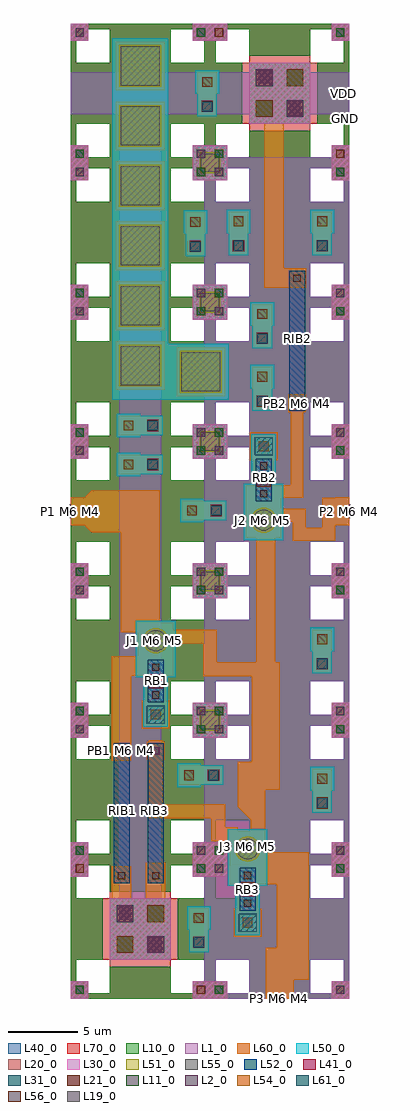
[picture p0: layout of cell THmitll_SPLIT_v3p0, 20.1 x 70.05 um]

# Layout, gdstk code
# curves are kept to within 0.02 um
from math import pi, radians
import gdstk
lib = gdstk.Library(unit=1e-6, precision=1e-09)
def R(c, l, rs):  # rectangles x0, y0, x1, y1
    for r in rs: c.add(gdstk.rectangle(r[:2], r[2:], *l))
def A(c, l, x, y, w, h, nx, ny, dx, dy):  # array of equal rectangles
    R(c, l, [(x+i*dx, y+j*dy, x+i*dx+w, y+j*dy+h) for i in range(nx) for j in range(ny)])
def P(c, l, *ps):  # polygons
    for p in ps: c.add(gdstk.Polygon(p, *l))
L1_0 = (1, 0)
L2_0 = (2, 0)
L10_0 = (10, 0)
L11_0 = (11, 0)
L19_0 = (19, 0)
L20_0 = (20, 0)
L21_0 = (21, 0)
L30_0 = (30, 0)
L31_0 = (31, 0)
L40_0 = (40, 0)
L41_0 = (41, 0)
L50_0 = (50, 0)
L51_0 = (51, 0)
L52_0 = (52, 0)
L54_0 = (54, 0)
L55_0 = (55, 0)
L56_0 = (56, 0)
L60_0 = (60, 0)
L61_0 = (61, 0)
L70_0 = (70, 0)

ls_tr_m7_1 = lib.new_cell('ls_tr_M7$1')
P(ls_tr_m7_1, L70_0, [(0,0),(0,10),(1.25,10),(1.25,8.75),(0.4,8.75),(0.4,1.25),(1.25,1.25),(1.25,0.4),(2.8,0.4),(2.8,2.8),(0.4,2.8),(0.4,7.2),(2.8,7.2),(2.8,9.6),(1.25,9.6),(1.25,10),(7.2,10),(7.2,0.4),(8.75,0.4),(8.75,1.25),(9.6,1.25),(9.6,2.8),(7.2,2.8),(7.2,7.2),(9.6,7.2),(9.6,8.75),(8.75,8.75),(8.75,9.6),(7.2,9.6),(7.2,10),(10,10),(10,0)])

ls_tr_u_m4_nptl = lib.new_cell('ls_tr_u_M4_NPTL')
P(ls_tr_u_m4_nptl, L1_0, [(0,0),(0,10),(1.25,10),(1.25,8.75),(0.4,8.75),(0.4,1.25),(1.25,1.25),(1.25,0.4),(2.8,0.4),(2.8,2.8),(0.4,2.8),(0.4,7.2),(2.8,7.2),(2.8,9.6),(1.25,9.6),(1.25,10),(7.2,10),(7.2,0.4),(8.75,0.4),(8.75,1.25),(9.6,1.25),(9.6,2.8),(7.2,2.8),(7.2,7.2),(9.6,7.2),(9.6,8.75),(8.75,8.75),(8.75,9.6),(7.2,9.6),(7.2,10),(10,10),(10,0)])
R(ls_tr_u_m4_nptl, L2_0, [(9.05,0.35,9.65,0.95), (0.35,9.05,0.95,9.65)])
R(ls_tr_u_m4_nptl, L10_0, [(0,0,1.25,1.25), (8.75,0,10,1.25), (0,8.75,1.25,10), (8.75,8.75,10,10)])
P(ls_tr_u_m4_nptl, L10_0, [(1.25,0),(1.25,0.4),(2.8,0.4),(2.8,2.8),(0.4,2.8),(0.4,1.25),(0,1.25),(0,8.75),(0.4,8.75),(0.4,7.2),(2.8,7.2),(2.8,9.6),(1.25,9.6),(1.25,10),(8.75,10),(8.75,9.6),(7.2,9.6),(7.2,7.2),(9.6,7.2),(9.6,8.75),(10,8.75),(10,1.25),(9.6,1.25),(9.6,2.8),(7.2,2.8),(7.2,0.4),(8.75,0.4),(8.75,0)])
R(ls_tr_u_m4_nptl, L11_0, [(0.35,0.35,0.95,0.95), (9.05,9.05,9.65,9.65)])
R(ls_tr_u_m4_nptl, L20_0, [(0,0,1.25,1.25), (8.75,0,10,1.25), (0,8.75,1.25,10), (8.75,8.75,10,10)])
R(ls_tr_u_m4_nptl, L21_0, [(9.05,0.35,9.65,0.95), (0.35,9.05,0.95,9.65)])
R(ls_tr_u_m4_nptl, L30_0, [(0,0,1.25,1.25), (8.75,0,10,1.25), (0,8.75,1.25,10), (8.75,8.75,10,10)])
R(ls_tr_u_m4_nptl, L31_0, [(0.35,0.35,0.95,0.95), (9.05,9.05,9.65,9.65)])
P(ls_tr_u_m4_nptl, L40_0, [(0,0),(0,10),(1.25,10),(1.25,8.75),(0.4,8.75),(0.4,1.25),(1.25,1.25),(1.25,0.4),(2.8,0.4),(2.8,2.8),(0.4,2.8),(0.4,7.2),(2.8,7.2),(2.8,9.6),(1.25,9.6),(1.25,10),(7.2,10),(7.2,0.4),(8.75,0.4),(8.75,1.25),(9.6,1.25),(9.6,2.8),(7.2,2.8),(7.2,7.2),(9.6,7.2),(9.6,8.75),(8.75,8.75),(8.75,9.6),(7.2,9.6),(7.2,10),(10,10),(10,0)])
ls_tr_u_m4_nptl.add(gdstk.Reference(ls_tr_m7_1, (0,0)))

ls_tr_bias_pillar_m0m6 = lib.new_cell('ls_tr_bias_pillar_M0M6')
R(ls_tr_bias_pillar_m0m6, L1_0, [(0,0,1.25,1.25), (8.75,0,10,1.25), (2.8,2.8,7.2,7.2), (0,8.75,1.25,10), (8.75,8.75,10,10)])
R(ls_tr_bias_pillar_m0m6, L2_0, [(5.5,3.3,6.7,4.5), (3.3,5.5,4.5,6.7)])
R(ls_tr_bias_pillar_m0m6, L10_0, [(0,0,1.25,1.25), (8.75,0,10,1.25), (2.8,2.8,7.2,7.2), (0,8.75,1.25,10), (8.75,8.75,10,10)])
P(ls_tr_bias_pillar_m0m6, L10_0, [(0,0),(0,10),(7.2,10),(7.2,7.7),(2.8,7.7),(2.8,9.6),(1.25,9.6),(1.25,8.75),(0.4,8.75),(0.4,7.2),(2.3,7.2),(2.3,2.8),(0.4,2.8),(0.4,1.25),(1.25,1.25),(1.25,0.4),(2.8,0.4),(2.8,2.3),(7.2,2.3),(7.2,0.4),(8.75,0.4),(8.75,1.25),(9.6,1.25),(9.6,2.8),(7.7,2.8),(7.7,7.2),(9.6,7.2),(9.6,8.75),(8.75,8.75),(8.75,9.6),(7.2,9.6),(7.2,10),(10,10),(10,0)])
R(ls_tr_bias_pillar_m0m6, L11_0, [(0.35,0.35,0.95,0.95), (3.3,3.3,4.5,4.5), (5.5,5.5,6.7,6.7), (9.05,9.05,9.65,9.65)])
R(ls_tr_bias_pillar_m0m6, L20_0, [(0,0,1.25,1.25), (8.75,0,10,1.25), (2.8,2.8,7.2,7.2), (0,8.75,1.25,10), (8.75,8.75,10,10)])
R(ls_tr_bias_pillar_m0m6, L21_0, [(9.05,0.35,9.65,0.95), (5.5,3.3,6.7,4.5), (3.3,5.5,4.5,6.7), (0.35,9.05,0.95,9.65)])
R(ls_tr_bias_pillar_m0m6, L30_0, [(0,0,1.25,1.25), (8.75,0,10,1.25), (2.8,2.8,7.2,7.2), (0,8.75,1.25,10), (8.75,8.75,10,10)])
R(ls_tr_bias_pillar_m0m6, L31_0, [(0.35,0.35,0.95,0.95), (3.3,3.3,4.5,4.5), (5.5,5.5,6.7,6.7), (9.05,9.05,9.65,9.65)])
R(ls_tr_bias_pillar_m0m6, L40_0, [(2.8,2.8,7.2,7.2)])
P(ls_tr_bias_pillar_m0m6, L40_0, [(0,0),(0,10),(7.2,10),(7.2,7.7),(2.8,7.7),(2.8,9.6),(1.25,9.6),(1.25,8.75),(0.4,8.75),(0.4,7.2),(2.3,7.2),(2.3,2.8),(0.4,2.8),(0.4,1.25),(1.25,1.25),(1.25,0.4),(2.8,0.4),(2.8,2.3),(7.2,2.3),(7.2,0.4),(8.75,0.4),(8.75,1.25),(9.6,1.25),(9.6,2.8),(7.7,2.8),(7.7,7.2),(9.6,7.2),(9.6,8.75),(8.75,8.75),(8.75,9.6),(7.2,9.6),(7.2,10),(10,10),(10,0)])
R(ls_tr_bias_pillar_m0m6, L41_0, [(5.5,3.3,6.7,4.5), (3.3,5.5,4.5,6.7)])
R(ls_tr_bias_pillar_m0m6, L50_0, [(2.8,2.8,7.2,7.2)])
R(ls_tr_bias_pillar_m0m6, L54_0, [(3.3,3.3,4.5,4.5), (5.5,5.5,6.7,6.7)])
R(ls_tr_bias_pillar_m0m6, L60_0, [(2.8,2.8,7.2,7.2)])
P(ls_tr_bias_pillar_m0m6, L70_0, [(0,0),(0,10),(1.25,10),(1.25,8.75),(0.4,8.75),(0.4,1.25),(1.25,1.25),(1.25,0.4),(2.8,0.4),(2.8,2.8),(0.4,2.8),(0.4,7.2),(2.8,7.2),(2.8,9.6),(1.25,9.6),(1.25,10),(7.2,10),(7.2,0.4),(8.75,0.4),(8.75,1.25),(9.6,1.25),(9.6,2.8),(7.2,2.8),(7.2,7.2),(9.6,7.2),(9.6,8.75),(8.75,8.75),(8.75,9.6),(7.2,9.6),(7.2,10),(10,10),(10,0)])

ls_tr_m7 = lib.new_cell('ls_tr_M7')
P(ls_tr_m7, L70_0, [(0,0),(0,10),(1.25,10),(1.25,8.75),(0.4,8.75),(0.4,1.25),(1.25,1.25),(1.25,0.4),(2.8,0.4),(2.8,2.8),(0.4,2.8),(0.4,7.2),(2.8,7.2),(2.8,9.6),(1.25,9.6),(1.25,10),(7.2,10),(7.2,0.4),(8.75,0.4),(8.75,1.25),(9.6,1.25),(9.6,2.8),(7.2,2.8),(7.2,7.2),(9.6,7.2),(9.6,8.75),(8.75,8.75),(8.75,9.6),(7.2,9.6),(7.2,10),(10,10),(10,0)])

ls_tr_u_m4_alt = lib.new_cell('ls_tr_u_M4_alt')
R(ls_tr_u_m4_alt, L1_0, [(0,0,1.25,1.25), (8.75,0,10,1.25), (0,8.75,1.25,10), (8.75,8.75,10,10)])
R(ls_tr_u_m4_alt, L2_0, [(9.05,0.35,9.65,0.95), (0.35,9.05,0.95,9.65)])
R(ls_tr_u_m4_alt, L10_0, [(0,0,1.25,1.25), (1.25,0,8.75,0.4), (8.75,0,10,1.25), (2.8,0.4,7.2,9.6), (0,1.25,0.4,8.75), (9.6,1.25,10,8.75), (0.4,2.8,2.8,7.2), (7.2,2.8,9.6,7.2), (0,8.75,1.25,10), (8.75,8.75,10,10), (1.25,9.6,8.75,10)])
R(ls_tr_u_m4_alt, L11_0, [(0.35,0.35,0.95,0.95), (9.05,9.05,9.65,9.65)])
R(ls_tr_u_m4_alt, L20_0, [(0,0,1.25,1.25), (8.75,0,10,1.25), (0,8.75,1.25,10), (8.75,8.75,10,10)])
R(ls_tr_u_m4_alt, L21_0, [(9.05,0.35,9.65,0.95), (0.35,9.05,0.95,9.65)])
R(ls_tr_u_m4_alt, L30_0, [(0,0,1.25,1.25), (8.75,0,10,1.25), (0,8.75,1.25,10), (8.75,8.75,10,10)])
R(ls_tr_u_m4_alt, L31_0, [(0.35,0.35,0.95,0.95), (9.05,9.05,9.65,9.65)])
P(ls_tr_u_m4_alt, L40_0, [(0,0),(0,10),(1.25,10),(1.25,8.75),(0.4,8.75),(0.4,1.25),(1.25,1.25),(1.25,0.4),(2.8,0.4),(2.8,2.8),(0.4,2.8),(0.4,7.2),(2.8,7.2),(2.8,9.6),(1.25,9.6),(1.25,10),(7.2,10),(7.2,0.4),(8.75,0.4),(8.75,1.25),(9.6,1.25),(9.6,2.8),(7.2,2.8),(7.2,7.2),(9.6,7.2),(9.6,8.75),(8.75,8.75),(8.75,9.6),(7.2,9.6),(7.2,10),(10,10),(10,0)])
ls_tr_u_m4_alt.add(gdstk.Reference(ls_tr_m7, (0,0)))

ls_conn_m5m6m7 = lib.new_cell('ls_conn_M5M6M7')
R(ls_conn_m5m6m7, L60_0, [(-0.65,-0.65,1.35,1.35)])
R(ls_conn_m5m6m7, L61_0, [(-0.3,-0.3,1,1)])
R(ls_conn_m5m6m7, L70_0, [(-0.65,-0.65,1.35,1.35)])

th_jj_250_sg = lib.new_cell('th_jj_250_sg')
R(th_jj_250_sg, L41_0, [(-0.5,2.4,0.5,3.4)])
R(th_jj_250_sg, L50_0, [(-1.425,-1.425,1.425,2.625), (-0.875,2.625,0.875,6.175)])
P(th_jj_250_sg, L51_0, [(0,-0.91),(-0.18,-0.895),(-0.35,-0.84),(-0.645,-0.645),(-0.84,-0.35),(-0.91,0),(-0.895,0.18),(-0.84,0.35),(-0.645,0.645),(-0.35,0.84),(-0.18,0.895),(0,0.91),(0.18,0.895),(0.35,0.84),(0.645,0.645),(0.84,0.35),(0.895,0.18),(0.91,0),(0.84,-0.35),(0.645,-0.645),(0.35,-0.84),(0.18,-0.895)])
R(th_jj_250_sg, L52_0, [(-0.575,1.35,0.575,4.425)])
R(th_jj_250_sg, L54_0, [(-0.35,4.95,0.35,5.65)])
P(th_jj_250_sg, L55_0, [(0,-0.76),(-0.15,-0.75),(-0.29,-0.7),(-0.54,-0.54),(-0.7,-0.29),(-0.75,-0.15),(-0.76,0),(-0.75,0.15),(-0.7,0.29),(-0.54,0.54),(-0.29,0.7),(-0.15,0.75),(0,0.76),(0.15,0.75),(0.29,0.7),(0.54,0.54),(0.7,0.29),(0.75,0.15),(0.76,0),(0.75,-0.15),(0.7,-0.29),(0.54,-0.54),(0.29,-0.7),(0.15,-0.75)])
R(th_jj_250_sg, L56_0, [(-0.26,1.64,0.26,2.16), (-0.26,3.63,0.26,4.15)])
R(th_jj_250_sg, L60_0, [(-1.275,-1.275,1.275,2.525), (-0.725,3.25,0.725,6.025)])
th_jj_250_sg.add(gdstk.Reference(ls_conn_m5m6m7, (0.35,5.65), rotation=pi))

th_ib_175 = lib.new_cell('th_ib_175')
R(th_ib_175, L52_0, [(-0.575,0,0.575,10.05)])
R(th_ib_175, L56_0, [(-0.26,0.29,0.26,0.81), (-0.26,9.26,0.26,9.78)])
R(th_ib_175, L60_0, [(-0.625,-0.1,0.625,1.175), (-0.625,8.9,0.625,10.15)])

ls_fakejj_1p5x1p5um = lib.new_cell('ls_FakeJJ_1p5x1p5um')
R(ls_fakejj_1p5x1p5um, L40_0, [(-1.25,-1.25,1.25,1.25)])
R(ls_fakejj_1p5x1p5um, L50_0, [(-1.25,-1.25,1.25,1.25)])
R(ls_fakejj_1p5x1p5um, L51_0, [(-0.75,-0.75,0.75,0.75)])
R(ls_fakejj_1p5x1p5um, L55_0, [(-0.65,-0.65,0.65,0.65)])
R(ls_fakejj_1p5x1p5um, L60_0, [(-1,-1,1,1)])

ls_conn_m4m5m6m7 = lib.new_cell('ls_conn_M4M5M6M7')
R(ls_conn_m4m5m6m7, L40_0, [(0,0,1.4,1.4)])
R(ls_conn_m4m5m6m7, L41_0, [(0.3,0.3,1.1,1.1)])
P(ls_conn_m4m5m6m7, L50_0, [(1.6,-0.15),(1.6,0),(0,0),(0,1.4),(1.6,1.4),(1.6,1.55),(3.3,1.55),(3.3,-0.15)])
R(ls_conn_m4m5m6m7, L54_0, [(2.1,0.35,2.8,1.05)])
R(ls_conn_m4m5m6m7, L60_0, [(0,0,3.15,1.4)])
R(ls_conn_m4m5m6m7, L61_0, [(0.35,0.35,1.05,1.05)])
R(ls_conn_m4m5m6m7, L70_0, [(0,0,1.4,1.4)])

ls_fakejj_3umx3um = lib.new_cell('ls_FakeJJ_3umx3um')
R(ls_fakejj_3umx3um, L40_0, [(-2,-2,2,2)])
R(ls_fakejj_3umx3um, L50_0, [(-2,-2,2,2)])
R(ls_fakejj_3umx3um, L51_0, [(-1.5,-1.5,1.5,1.5)])
R(ls_fakejj_3umx3um, L55_0, [(-1.4,-1.4,1.4,1.4)])
R(ls_fakejj_3umx3um, L60_0, [(-1.75,-1.75,1.75,1.75)])

thmitll_split_v3p0 = lib.new_cell('THmitll_SPLIT_v3p0')
A(thmitll_split_v3p0, L1_0, 9.6, 1.25, 0.4, 7.5, 1, 6, 0, 10)
R(thmitll_split_v3p0, L1_0, [(11.25,60,18.75,60.4)])
P(thmitll_split_v3p0, L1_0, [(11.25,10.4),(11.25,11.25),(10.4,11.25),(10.4,12.8),(12.8,12.8),(12.8,10.4)],
  [(10.4,7.2),(10.4,8.75),(11.25,8.75),(11.25,9.6),(12.8,9.6),(12.8,7.2)])
R(thmitll_split_v3p0, L19_0, [(3.4,17.5,3.9,18.05), (5.85,17.5,6.4,18.05), (16,42.5,16.55,43)])
P(thmitll_split_v3p0, L40_0, [(11.25,10.4),(11.25,11.25),(10.4,11.25),(10.4,12.8),(12.8,12.8),(12.8,10.4)],
  [(10.4,7.2),(10.4,8.75),(11.25,8.75),(11.25,9.6),(12.8,9.6),(12.8,7.2)])
R(thmitll_split_v3p0, L50_0, [(3,43,11.35,47), (3,43.45,7,68.95)])
P(thmitll_split_v3p0, L60_0, [(12.975,12.8),(11.975,13.8),(12.975,13.8)],
  [(1.5,33.5),(1,34),(1.5,34)],
  [(1,36),(1.5,36.5),(1.5,36)])
P(thmitll_split_v3p0, L70_0, [(10.4,7.2),(10.4,8.75),(11.25,8.75),(11.25,9.6),(12.8,9.6),(12.8,7.2)],
  [(11.25,10.4),(11.25,11.25),(10.4,11.25),(10.4,12.8),(12.8,12.8),(12.8,10.4)])
thmitll_split_v3p0.add(gdstk.FlexPath([(15,23.65),(10,23.65),(10,26),(7.1,26)], 1, ends="flush", simple_path=True, layer=60, datatype=0))  # L60_0
thmitll_split_v3p0.add(gdstk.FlexPath([(14,23.65),(14,16),(12.975,16),(12.975,13.8)], 2, ends="flush", simple_path=True, layer=60, datatype=0))  # L60_0
thmitll_split_v3p0.add(gdstk.FlexPath([(14,23.9),(14,33.2)], 1.35, ends="flush", simple_path=True, layer=60, datatype=0))  # L60_0
thmitll_split_v3p0.add(gdstk.FlexPath([(0,35),(5,35)], 2, ends="flush", simple_path=True, layer=60, datatype=0))  # L60_0
thmitll_split_v3p0.add(gdstk.FlexPath([(20,35),(19,35)], 2, ends="flush", simple_path=True, layer=60, datatype=0))  # L60_0
thmitll_split_v3p0.add(gdstk.FlexPath([(15,34.7),(16.4,34.7),(16.4,33.35),(18.525,33.35),(18.525,35.5),(19,35.5)], 0.95, ends="flush", simple_path=True, layer=60, datatype=0))  # L60_0
thmitll_split_v3p0.add(gdstk.FlexPath([(16.25,43.4),(16.25,36.425),(14.85,36.425)], 0.9, ends="flush", simple_path=True, layer=60, datatype=0))  # L60_0
thmitll_split_v3p0.add(gdstk.FlexPath([(6.1,18.55),(6.1,13.45),(10.6,13.45),(10.6,11.8),(12,11.8)], 1, ends="flush", simple_path=True, layer=60, datatype=0))  # L60_0
thmitll_split_v3p0.add(gdstk.FlexPath([(6.1,9.75),(6.1,7)], 1.4, ends="flush", simple_path=True, layer=60, datatype=0))  # L60_0
thmitll_split_v3p0.add(gdstk.FlexPath([(3.65,9.5),(3.65,6.95)], 1.4, ends="flush", simple_path=True, layer=60, datatype=0))  # L60_0
thmitll_split_v3p0.add(gdstk.FlexPath([(3.65,17.1),(3.65,23.875),(4.9,23.875)], 1.4, ends="flush", simple_path=True, layer=60, datatype=0))  # L60_0
thmitll_split_v3p0.add(gdstk.FlexPath([(14,2.5),(15,2.5),(15.95,2.5),(15.95,9.375),(13.8,9.375)], 2.3, ends="flush", simple_path=True, layer=60, datatype=0))  # L60_0
thmitll_split_v3p0.add(gdstk.FlexPath([(15,0),(15,2.5)], 2, ends="flush", simple_path=True, layer=60, datatype=0))  # L60_0
thmitll_split_v3p0.add(gdstk.FlexPath([(16.9,51.75),(14.6,51.75),(14.6,62.95)], 1.4, ends="flush", simple_path=True, layer=60, datatype=0))  # L60_0
thmitll_split_v3p0.add(gdstk.FlexPath([(5,36),(5,26.3)], 2.8, ends="flush", simple_path=True, layer=60, datatype=0))  # L60_0
thmitll_split_v3p0.add(gdstk.FlexPath([(13.45,11.8),(13.45,14.05)], 1.05, ends="flush", simple_path=True, layer=60, datatype=0))  # L60_0
thmitll_split_v3p0.add(gdstk.FlexPath([(1.5,35),(6.4,35)], 3, ends="flush", simple_path=True, layer=60, datatype=0))  # L60_0
thmitll_split_v3p0.add(gdstk.FlexPath([(0,65),(20,65)], 3, ends="flush", simple_path=True, layer=1, datatype=0))  # L1_0
thmitll_split_v3p0.add(gdstk.FlexPath([(5,65),(5,5)], 3, ends="flush", simple_path=True, layer=1, datatype=0))  # L1_0
thmitll_split_v3p0.add(gdstk.FlexPath([(0,35.5),(0,34.5)], 0.1, ends="flush", simple_path=True, layer=19, datatype=0))  # L19_0
thmitll_split_v3p0.add(gdstk.FlexPath([(20,35.5),(20,34.5)], 0.1, ends="flush", simple_path=True, layer=19, datatype=0))  # L19_0
thmitll_split_v3p0.add(gdstk.FlexPath([(14.5,0),(15.5,0)], 0.1, ends="flush", simple_path=True, layer=19, datatype=0))  # L19_0
r = gdstk.Reference(ls_tr_u_m4_nptl, (10,0)); r.repetition = gdstk.Repetition(1, 6, v1=(0,0), v2=(0,10)); thmitll_split_v3p0.add(r)
thmitll_split_v3p0.add(gdstk.Reference(ls_tr_bias_pillar_m0m6, (10,60)))
r = gdstk.Reference(ls_tr_u_m4_alt, (0,20)); r.repetition = gdstk.Repetition(1, 5, v1=(0,0), v2=(0,10)); thmitll_split_v3p0.add(r)
thmitll_split_v3p0.add(gdstk.Reference(th_jj_250_sg, (13.85,34.35)))
thmitll_split_v3p0.add(gdstk.Reference(th_jj_250_sg, (6.1,25.7), rotation=pi))
thmitll_split_v3p0.add(gdstk.Reference(th_ib_175, (16.25,42.2)))
thmitll_split_v3p0.add(gdstk.Reference(th_jj_250_sg, (12.7,10.75), rotation=pi))
thmitll_split_v3p0.add(gdstk.Reference(ls_tr_bias_pillar_m0m6, (10,10), rotation=pi))
thmitll_split_v3p0.add(gdstk.Reference(ls_tr_u_m4_alt, (10,20), rotation=pi))
thmitll_split_v3p0.add(gdstk.Reference(th_ib_175, (6.1,18.35), rotation=pi))
thmitll_split_v3p0.add(gdstk.Reference(th_ib_175, (3.65,18.35), rotation=pi))
thmitll_split_v3p0.add(gdstk.Reference(ls_fakejj_1p5x1p5um, (10,50), rotation=pi))
thmitll_split_v3p0.add(gdstk.Reference(ls_fakejj_1p5x1p5um, (10,60), rotation=pi))
thmitll_split_v3p0.add(gdstk.Reference(ls_fakejj_1p5x1p5um, (10,40), rotation=pi))
thmitll_split_v3p0.add(gdstk.Reference(ls_fakejj_1p5x1p5um, (10,30), rotation=pi))
thmitll_split_v3p0.add(gdstk.Reference(ls_fakejj_1p5x1p5um, (10,20), rotation=pi))
thmitll_split_v3p0.add(gdstk.Reference(ls_conn_m4m5m6m7, (9.9,3.35), rotation=pi/2))
thmitll_split_v3p0.add(gdstk.Reference(ls_conn_m4m5m6m7, (18.75,13.35), rotation=pi/2))
thmitll_split_v3p0.add(gdstk.Reference(ls_conn_m4m5m6m7, (10.95,16.75), rotation=pi))
thmitll_split_v3p0.add(gdstk.Reference(ls_conn_m4m5m6m7, (18.75,23.35), rotation=pi/2))
thmitll_split_v3p0.add(gdstk.Reference(ls_conn_m4m5m6m7, (11.15,35.75), rotation=pi))
thmitll_split_v3p0.add(gdstk.Reference(ls_conn_m4m5m6m7, (18.75,53.35), rotation=pi/2))
thmitll_split_v3p0.add(gdstk.Reference(ls_conn_m4m5m6m7, (12.75,53.35), rotation=pi/2))
thmitll_split_v3p0.add(gdstk.Reference(ls_conn_m4m5m6m7, (14.45,46.7), rotation=pi/2))
thmitll_split_v3p0.add(gdstk.Reference(ls_conn_m4m5m6m7, (14.45,42.2), rotation=pi/2))
r = gdstk.Reference(ls_fakejj_3umx3um, (5,45.45), rotation=pi/2); r.repetition = gdstk.Repetition(6, 1, v1=(0,4.3), v2=(0,0)); thmitll_split_v3p0.add(r)
thmitll_split_v3p0.add(gdstk.Reference(ls_fakejj_3umx3um, (9.35,45), rotation=pi))
thmitll_split_v3p0.add(gdstk.Reference(ls_conn_m4m5m6m7, (9.65,53.3), rotation=pi/2))
thmitll_split_v3p0.add(gdstk.Reference(ls_conn_m4m5m6m7, (10.5,63.35), rotation=pi/2))
thmitll_split_v3p0.add(gdstk.Reference(ls_conn_m4m5m6m7, (6.6,41.85), rotation=pi))
thmitll_split_v3p0.add(gdstk.Reference(ls_conn_m4m5m6m7, (6.6,39.05), rotation=pi))
thmitll_split_v3p0.add(gdstk.Label('GND', (19.7,63.15), layer=40, texttype=0))
thmitll_split_v3p0.add(gdstk.Label('VDD', (19.55,65), layer=1, texttype=0))
thmitll_split_v3p0.add(gdstk.Label('J1 M6 M5', (6.05,25.75), layer=182, texttype=0))
thmitll_split_v3p0.add(gdstk.Label('J2 M6 M5', (13.75,34.3), layer=182, texttype=0))
thmitll_split_v3p0.add(gdstk.Label('J3 M6 M5', (12.7,10.9), layer=182, texttype=0))
thmitll_split_v3p0.add(gdstk.Label('PB1 M6 M4', (3.65,17.8), layer=182, texttype=0))
thmitll_split_v3p0.add(gdstk.Label('PB3 M6 M4', (6.05,17.85), layer=182, texttype=0))
thmitll_split_v3p0.add(gdstk.Label('PB2 M6 M4', (16.25,42.75), layer=182, texttype=0))
thmitll_split_v3p0.add(gdstk.Label('P1 M6 M4', (0,35), layer=182, texttype=0))
thmitll_split_v3p0.add(gdstk.Label('P2 M6 M4', (20,35), layer=182, texttype=0))
thmitll_split_v3p0.add(gdstk.Label('P3 M6 M4', (15,0), layer=182, texttype=0))
thmitll_split_v3p0.add(gdstk.Label('q1', (15,0), layer=182, texttype=0))
thmitll_split_v3p0.add(gdstk.Label('q0', (20,35), layer=182, texttype=0))
thmitll_split_v3p0.add(gdstk.Label('a', (0,35), layer=182, texttype=0))
thmitll_split_v3p0.add(gdstk.Label('RIB2', (16.3,47.4), layer=52, texttype=11))
thmitll_split_v3p0.add(gdstk.Label('RIB1', (3.7,13.5), layer=52, texttype=11))
thmitll_split_v3p0.add(gdstk.Label('RIB3', (6,13.55), layer=52, texttype=11))
thmitll_split_v3p0.add(gdstk.Label('RB1', (6.15,22.85), layer=52, texttype=11))
thmitll_split_v3p0.add(gdstk.Label('RB3', (12.7,7.85), layer=52, texttype=11))
thmitll_split_v3p0.add(gdstk.Label('RB2', (13.9,37.4), layer=52, texttype=11))
thmitll_split_v3p0.add(gdstk.Label('q1', (15,0), layer=60, texttype=5))
thmitll_split_v3p0.add(gdstk.Label('q0', (20,35), layer=60, texttype=5))
thmitll_split_v3p0.add(gdstk.Label('a', (0,35), layer=60, texttype=5))

lib.write_gds('THmitll_SPLIT_v3p0.gds')
